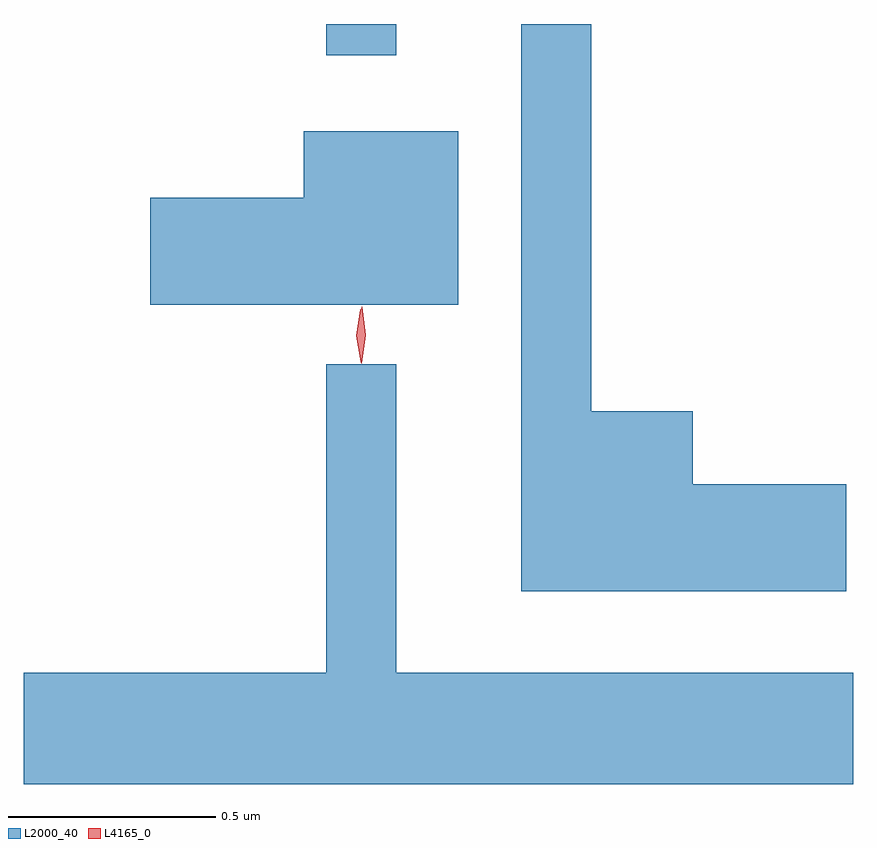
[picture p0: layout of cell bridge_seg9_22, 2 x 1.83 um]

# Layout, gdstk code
import gdstk
lib = gdstk.Library(unit=1e-6, precision=1e-09)
def R(c, l, rs):  # rectangles x0, y0, x1, y1
    for r in rs: c.add(gdstk.rectangle(r[:2], r[2:], *l))
def P(c, l, *ps):  # polygons
    for p in ps: c.add(gdstk.Polygon(p, *l))
L2000_40 = (2000, 40)
L4165_0 = (4165, 0)

bridge_seg9_22 = lib.new_cell('bridge_seg9_22')
R(bridge_seg9_22, L2000_40, [(1576.211,2066.833,1576.379,2066.908)])
P(bridge_seg9_22, L2000_40, [(1577.464,2065.799),(1577.094,2065.799),(1577.094,2065.974),(1576.849,2065.974),(1576.849,2066.908),(1576.681,2066.908),(1576.681,2065.541),(1577.464,2065.541)],
  [(1576.529,2066.649),(1576.156,2066.649),(1576.156,2066.489),(1575.786,2066.489),(1575.786,2066.231),(1576.529,2066.231)],
  [(1577.481,2065.344),(1576.379,2065.344),(1576.379,2066.088),(1576.211,2066.088),(1576.211,2065.344),(1575.481,2065.344),(1575.481,2065.076),(1577.481,2065.076)])
P(bridge_seg9_22, L4165_0, [(1576.295,2066.09),(1576.295,2066.09),(1576.286,2066.158),(1576.296,2066.226),(1576.297,2066.226),(1576.297,2066.226),(1576.306,2066.158),(1576.296,2066.09)],
  [(1576.293,2066.093),(1576.293,2066.094),(1576.283,2066.156),(1576.292,2066.219),(1576.292,2066.22),(1576.293,2066.219),(1576.303,2066.156),(1576.294,2066.094)])

lib.write_gds('bridge_seg9_22.gds')
